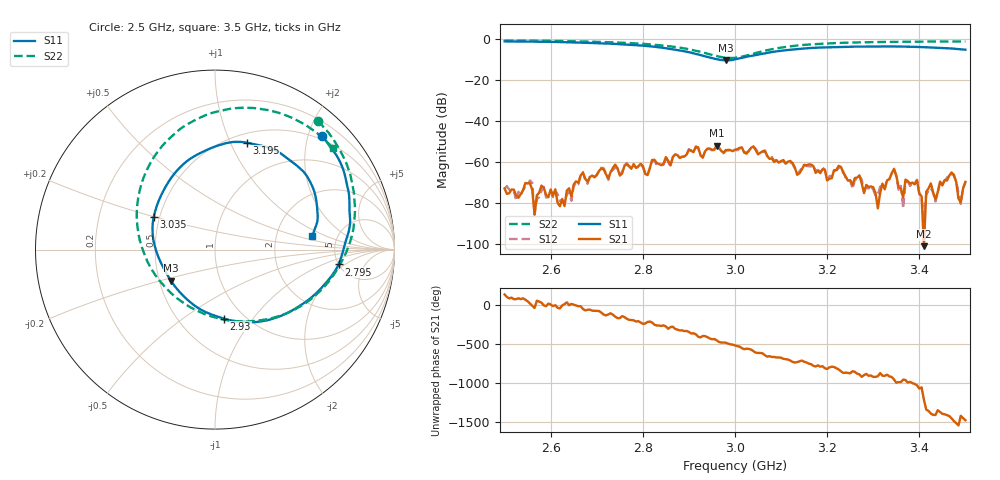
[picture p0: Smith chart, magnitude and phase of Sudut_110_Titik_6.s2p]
# Hz S RI R 50
! CMT, C1220, 16058040, 17.2.0/1
! Date: 15/08/2018 10:16:43
! Data: Format (Calibration Info)
! Freq  S11: Re/Im (F2)  S21: Re/Im (F2)  S12: Re/Im (F2)  S22: Re/Im (F2)
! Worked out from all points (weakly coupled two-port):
!   201 points, 2.5 GHz to 3.5 GHz, reference 50 ohm
!   highest |S21| = -51.91 dB at 2.96 GHz (marker M1); lowest = -100.9 dB at 3.41 GHz (marker M2)
!   lowest |S11| = -10.4 dB at 2.98 GHz (marker M3), VSWR 1.86, Z = 28.8 - j11 ohm
!   |S11| at or under -10 dB: 2.963 GHz to 2.999 GHz (35.66 MHz wide, 1.2 % of centre)
!   |S22| runs from -9.3 to -0.7 dB; largest |S21 - S12| = 0.00018
!   S11 on the Smith chart (normalised r, x): 2.5 GHz: 0.43, +2.25; 2.795 GHz: 5.01, -1.59; 2.93 GHz: 0.81, -0.73; 3.035 GHz: 0.46, +0.20; 3.195 GHz: 0.59, +1.15; 3.5 GHz: 3.24, +0.71
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2.5e9  0.5968 0.6334  -0.000147 0.000175  -0.000114 0.000195  0.5731 0.7168
2.63e9  0.7248 0.4099  8.48e-05 1.06e-05  0.000103 6.39e-06  0.7104 0.5264
2.67e9  0.7451 0.3161  0.000322 -0.000449  0.000337 -0.000467  0.7452 0.4435
2.795e9  0.689 -0.0824  -0.000624 0.000665  -0.000593 0.000626  0.7628 0.0785
2.835e9  0.5852 -0.2212  -5.98e-05 0.000902  -3.07e-05 0.000829  0.7008 -0.0754
2.93e9  0.0497 -0.3845  0.000995 -0.00084  0.000993 -0.000823  0.2558 -0.3933
2.96e9  -0.1443 -0.2874  -0.000233 -0.00253  -0.000292 -0.00265  0.0198 -0.3835
2.98e9  -0.2449 -0.174  -0.00119 -0.00159  -0.00106 -0.00155  -0.1396 -0.3198
3e9  -0.3149 -0.0431  -0.00191 -0.000643  -0.00189 -0.000569  -0.2767 -0.2101
3.035e9  -0.3416 0.1819  -0.00184 0.00129  -0.00191 0.0012  -0.4193 0.0528
3.17e9  0.0963 0.5991  0.000375 -0.000715  0.000427 -0.000705  -0.0733 0.7397
3.195e9  0.1767 0.5957  -3.4e-05 -0.000654  -6.26e-05 -0.000661  0.0189 0.7705
3.31e9  0.4545 0.4692  -7.28e-05 2.02e-05  -0.000145 7.79e-05  0.3532 0.7629
3.335e9  0.4958 0.4311  -0.000367 0.000123  -0.000365 0.000125  0.4077 0.7431
3.345e9  0.5089 0.4139  -0.000389 0.00057  -0.000331 0.000609  0.4277 0.7348
3.365e9  0.5308 0.3756  -7.17e-05 0.000119  -2.74e-06 7.51e-05  0.4657 0.7153
3.37e9  0.5357 0.366  -0.000167 0.000338  -0.000164 0.000281  0.4754 0.7102
3.395e9  0.5554 0.3154  0.000243 0.000268  0.000237 0.000294  0.5164 0.6867
3.41e9  0.5627 0.2837  -6.56e-06 -6.25e-06  4.49e-05 7.87e-06  0.5408 0.6694
3.47e9  0.5666 0.1445  0.000546 -0.000133  0.000503 -0.00011  0.6216 0.6019
3.49e9  0.5507 0.0997  0.000101 3.21e-05  9.37e-05 -2.19e-05  0.6453 0.5764
3.5e9  0.541 0.0769  0.00026 -0.000205  0.000271 -0.000174  0.6563 0.5647
